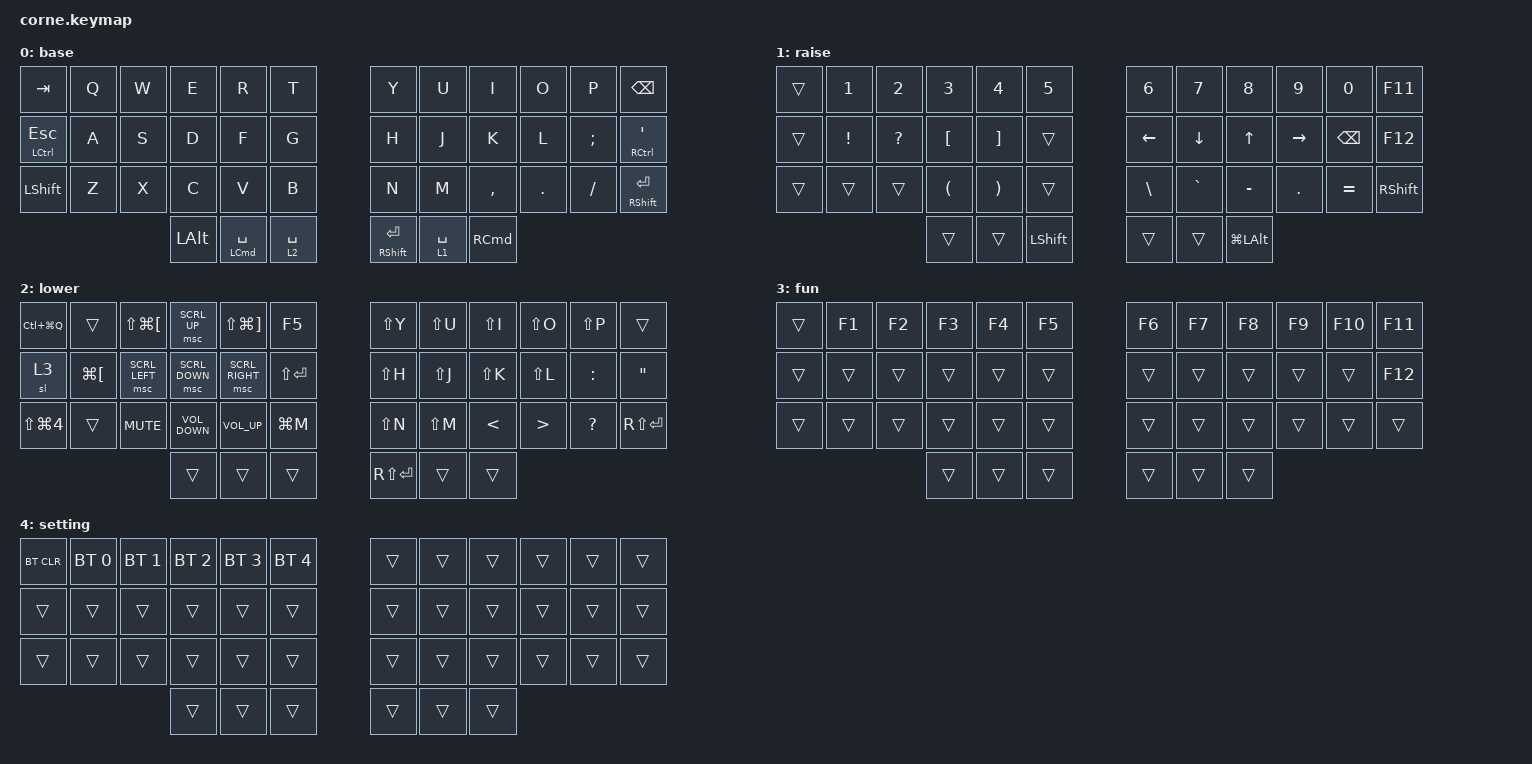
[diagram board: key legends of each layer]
/*
 * Copyright (c) 2020 The ZMK Contributors
 *
 * SPDX-License-Identifier: MIT
 */

#define ZMK_POINTING_DEFAULT_SCRL_VAL 15

#include <behaviors.dtsi>
#include <dt-bindings/zmk/bt.h>
#include <dt-bindings/zmk/keys.h>
#include <dt-bindings/zmk/pointing.h>

#define BASE 0
#define RAISE 1
#define LOWER 2
#define FUN 3
#define SETTING 4

/ {
    conditional_layers { compatible = "zmk,conditional-layers"; };

    combos {
        compatible = "zmk,combos";

        setting {
            bindings = <&mo 4>;
            key-positions = <39 11>;
        };

        cap_word {
            bindings = <&caps_word>;
            key-positions = <17 18>;
        };
    };

    keymap {
        compatible = "zmk,keymap";

        base {
            bindings = <
&kp TAB               &kp Q  &kp W  &kp E         &kp R           &kp T          &kp Y             &kp U        &kp I      &kp O    &kp P     &kp BACKSPACE
&mt LEFT_CONTROL ESC  &kp A  &kp S  &kp D         &kp F           &kp G          &kp H             &kp J        &kp K      &kp L    &kp SEMI  &mt RIGHT_CONTROL SQT
&kp LEFT_SHIFT        &kp Z  &kp X  &kp C         &kp V           &kp B          &kp N             &kp M        &kp COMMA  &kp DOT  &kp FSLH  &mt RSHIFT ENTER
                                    &kp LEFT_ALT  &mt LCMD SPACE  &lt 2 SPACE    &mt RSHIFT ENTER  &lt 1 SPACE  &kp RCMD
            >;

            label = "base";
        };

        raise {
            bindings = <
&trans  &kp N1           &kp N2        &kp N3                &kp N4                 &kp N5            &kp N6         &kp N7     &kp N8            &kp N9      &kp N0         &kp F11
&trans  &kp EXCLAMATION  &kp QUESTION  &kp LEFT_BRACKET      &kp RIGHT_BRACKET      &trans            &kp LEFT       &kp DOWN   &kp UP            &kp RIGHT   &kp BACKSPACE  &kp F12
&trans  &trans           &trans        &kp LEFT_PARENTHESIS  &kp RIGHT_PARENTHESIS  &trans            &kp BACKSLASH  &kp GRAVE  &kp MINUS         &kp PERIOD  &kp EQUAL      &kp RSHFT
                                       &trans                &trans                 &kp LEFT_SHIFT    &trans         &trans     &kp LG(LEFT_ALT)
            >;

            label = "raise";
        };

        lower {
            bindings = <
&kp LC(LG(Q))         &trans                &kp LS(LG(LEFT_BRACKET))  &msc SCRL_UP       &kp LS(LG(RIGHT_BRACKET))  &kp F5           &kp LS(Y)      &kp LS(U)  &kp LS(I)      &kp LS(O)         &kp LS(P)     &trans
&sl 3                 &kp LG(LEFT_BRACKET)  &msc SCRL_LEFT            &msc SCRL_DOWN     &msc SCRL_RIGHT            &kp LS(ENTER)    &kp LS(H)      &kp LS(J)  &kp LS(K)      &kp LS(L)         &kp COLON     &kp DOUBLE_QUOTES
&kp LS(LG(NUMBER_4))  &trans                &kp K_MUTE                &kp C_VOLUME_DOWN  &kp C_VOL_UP               &kp LG(M)        &kp LS(N)      &kp LS(M)  &kp LESS_THAN  &kp GREATER_THAN  &kp QUESTION  &kp RS(ENTER)
                                                                      &trans             &trans                     &trans           &kp RS(ENTER)  &trans     &trans
            >;

            label = "lower";
        };

        fun {
            bindings = <
&trans  &kp F1  &kp F2  &kp F3  &kp F4  &kp F5    &kp F6  &kp F7  &kp F8  &kp F9  &kp F10  &kp F11
&trans  &trans  &trans  &trans  &trans  &trans    &trans  &trans  &trans  &trans  &trans   &kp F12
&trans  &trans  &trans  &trans  &trans  &trans    &trans  &trans  &trans  &trans  &trans   &trans
                        &trans  &trans  &trans    &trans  &trans  &trans
            >;

            label = "fun";
        };

        setting {
            bindings = <
&bt BT_CLR  &bt BT_SEL 0  &bt BT_SEL 1  &bt BT_SEL 2  &bt BT_SEL 3  &bt BT_SEL 4    &trans  &trans  &trans  &trans  &trans  &trans
&trans      &trans        &trans        &trans        &trans        &trans          &trans  &trans  &trans  &trans  &trans  &trans
&trans      &trans        &trans        &trans        &trans        &trans          &trans  &trans  &trans  &trans  &trans  &trans
                                        &trans        &trans        &trans          &trans  &trans  &trans
            >;

            label = "setting";
        };
    };
};
